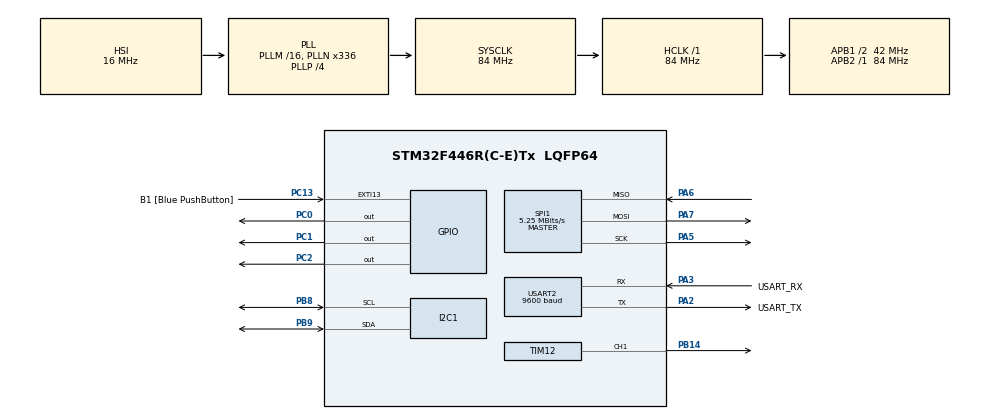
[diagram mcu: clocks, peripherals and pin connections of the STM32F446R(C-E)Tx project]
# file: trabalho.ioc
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Mcu.Family=STM32F4
Mcu.Name=STM32F446R(C-E)Tx
Mcu.Package=LQFP64
NVIC.PriorityGroup=NVIC_PRIORITYGROUP_0
PA13.GPIO_Label=TMS
PA13.Mode=Serial_Wire
PA13.Signal=SYS_JTMS-SWDIO
PA14.GPIO_Label=TCK
PA14.Mode=Serial_Wire
PA14.Signal=SYS_JTCK-SWCLK
PA2.GPIO_Label=USART_TX
PA2.Mode=Asynchronous
PA2.Signal=USART2_TX
PA3.GPIO_Label=USART_RX
PA3.Mode=Asynchronous
PA3.Signal=USART2_RX
PA5.Mode=Full_Duplex_Master
PA5.Signal=SPI1_SCK
PA6.Mode=Full_Duplex_Master
PA6.Signal=SPI1_MISO
PA7.Mode=Full_Duplex_Master
PA7.Signal=SPI1_MOSI
PB14.Signal=S_TIM12_CH1
PB3.GPIO_Label=SWO
PB3.Signal=SYS_JTDO-SWO
PB8.Mode=I2C
PB8.Signal=I2C1_SCL
PB9.Mode=I2C
PB9.Signal=I2C1_SDA
PC0.Signal=GPIO_Output
PC1.Signal=GPIO_Output
PC13.GPIO_Label=B1 [Blue PushButton]
PC13.GPIO_ModeDefaultEXTI=GPIO_MODE_IT_FALLING
PC13.Signal=GPXTI13
PC14-OSC32_IN.Mode=LSE-External-Oscillator
PC14-OSC32_IN.Signal=RCC_OSC32_IN
PC15-OSC32_OUT.Mode=LSE-External-Oscillator
PC15-OSC32_OUT.Signal=RCC_OSC32_OUT
PC2.Signal=GPIO_Output
PH0-OSC_IN.Mode=HSE-External-Oscillator
PH0-OSC_IN.Signal=RCC_OSC_IN
PH1-OSC_OUT.Mode=HSE-External-Oscillator
PH1-OSC_OUT.Signal=RCC_OSC_OUT
ProjectManager.HeapSize=0x200
ProjectManager.StackSize=0x400
ProjectManager.TargetToolchain=STM32CubeIDE
RCC.48MHZClocksFreq_Value=84000000
RCC.AHBFreq_Value=84000000
RCC.APB1CLKDivider=RCC_HCLK_DIV2
RCC.APB1Freq_Value=42000000
RCC.APB1TimFreq_Value=84000000
RCC.APB2Freq_Value=84000000
RCC.APB2TimFreq_Value=84000000
RCC.CortexFreq_Value=84000000
RCC.FLatency-AdvancedSettings=FLASH_LATENCY_2
RCC.HCLKFreq_Value=84000000
RCC.HSE_VALUE=8000000
RCC.HSI_VALUE=16000000
RCC.PLLN=336
RCC.PLLP=RCC_PLLP_DIV4
RCC.SYSCLKFreq_VALUE=84000000
RCC.SYSCLKSource=RCC_SYSCLKSOURCE_PLLCLK
RCC.USBFreq_Value=168000000
RCC.VCOOutputFreq_Value=336000000
SH.S_TIM12_CH1.0=TIM12_CH1,PWM Generation1 CH1
SPI1.BaudRatePrescaler=SPI_BAUDRATEPRESCALER_16
SPI1.CalculateBaudRate=5.25 MBits/s
SPI1.Direction=SPI_DIRECTION_2LINES
SPI1.Mode=SPI_MODE_MASTER
SPI1.VirtualType=VM_MASTER
TIM12.Channel-PWM\ Generation1\ CH1=TIM_CHANNEL_1
TIM12.Period=9999
TIM12.Prescaler=1
USART2.BaudRate=9600
USART2.VirtualMode=VM_ASYNC
board=NUCLEO-F446RE

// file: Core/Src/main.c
/* USER CODE BEGIN Header */
/**
  ******************************************************************************
  * @file           : main.c
  * @brief          : Main program body
  * @author         : Presotto
  ******************************************************************************
  * @attention
  *
  * Copyright (c) 2025 STMicroelectronics.
  * All rights reserved.
  *
  * This software is licensed under terms that can be found in the LICENSE file
  * in the root directory of this software component.
  * If no LICENSE file comes with this software, it is provided AS-IS.
  *
  ******************************************************************************
  */
/* USER CODE END Header */
#include "main.h"

I2C_HandleTypeDef hi2c1;

SPI_HandleTypeDef hspi1;

TIM_HandleTypeDef htim12;

UART_HandleTypeDef huart2;

void SystemClock_Config(void);
static void MX_GPIO_Init(void);
static void MX_USART2_UART_Init(void);
static void MX_I2C1_Init(void);
static void MX_SPI1_Init(void);
static void MX_TIM12_Init(void);

int main(void)
{

  /* MCU Configuration--------------------------------------------------------*/

  /* Reset of all peripherals, Initializes the Flash interface and the Systick. */
  HAL_Init();

  /* Configure the system clock */
  SystemClock_Config();

  /* Initialize all configured peripherals */
  MX_GPIO_Init();
  MX_USART2_UART_Init();
  MX_I2C1_Init();
  MX_SPI1_Init();
  MX_TIM12_Init();
  /* USER CODE BEGIN 2 */

  LCD_Init();
  LCD_Clear();
  LCD_SetCursor(0, 0);

  mpu6050_init();

  HAL_TIM_PWM_Start(&htim12, TIM_CHANNEL_1);

  /* USER CODE END 2 */

  /* Infinite loop */
  /* USER CODE BEGIN WHILE */
  while (1)
  {

	  uint32_t psc = TIM12->PSC;
	  uint32_t arr = TIM12->ARR;

	 int yPos;
	 int xPos;
	 int16_t PSC;
	 mpu6050_read(&yPos, &xPos);

	 if(yPos < -6600){
		 PSC = 64;
		 htim12.Instance->PSC = PSC;
		 htim12.Instance->CCR1 = 1;
		 LCD_SetCursor(18,2);
		 LCD_WriteString("Nota: C");
	 }else if(yPos >= -6599 && yPos <= -5200){
		 PSC = 61;
		 htim12.Instance->PSC = PSC;
		 htim12.Instance->CCR1 = 1;
		 LCD_SetCursor(17,2);
		 LCD_WriteString("Nota: C#");
	 }else if(yPos >= -5199 && yPos <= -3800){
		 PSC = 57;
		 htim12.Instance->PSC = PSC;
		 htim12.Instance->CCR1 = 1;
		 LCD_SetCursor(18,2);
		 LCD_WriteString("Nota: D");
	 }else if(yPos >= -3799 && yPos <= -2400){
		 PSC = 54;
		 htim12.Instance->PSC = PSC;
		 htim12.Instance->CCR1 = 1;
		 LCD_SetCursor(17,2);
		 LCD_WriteString("Nota: D#");
	 }else if(yPos >= -2399 && yPos <= -1000){
		 PSC = 51;
		 htim12.Instance->PSC = PSC;
		 htim12.Instance->CCR1 = 1;
		 LCD_SetCursor(18,2);
		 LCD_WriteString("Nota: E");
	 }else if(yPos >= -999 && yPos <= 400){
		 PSC = 48;
		 htim12.Instance->PSC = PSC;
		 htim12.Instance->CCR1 = 1;
		 LCD_SetCursor(18,2);
		 LCD_WriteString("Nota: F");
	 }else if(yPos >= 401 && yPos <= 1800){
		 PSC = 45;
		 htim12.Instance->PSC = PSC;
		 htim12.Instance->CCR1 = 1;
		 LCD_SetCursor(17,2);
		 LCD_WriteString("Nota: F#");
	 }else if(yPos >= 1801 && yPos <= 3200){
		 PSC = 43;
		 htim12.Instance->PSC = PSC;
		 htim12.Instance->CCR1 = 1;
		 LCD_SetCursor(18,2);
		 LCD_WriteString("Nota: G");
	 }else if(yPos >= 3201 && yPos <= 4600){
		 PSC = 40;
		 htim12.Instance->PSC = PSC;
		 htim12.Instance->CCR1 = 1;
		 LCD_SetCursor(17,2);
		 LCD_WriteString("Nota: G#");
	 }else if(yPos >= 4601 && yPos <= 6000){
		 PSC = 38;
		 htim12.Instance->PSC = PSC;
		 htim12.Instance->CCR1 = 1;
		 LCD_SetCursor(18,2);
		 LCD_WriteString("Nota: A");
	 }else if(yPos >= 6001 && yPos <= 7400){
		 PSC = 36;
		 htim12.Instance->PSC = PSC;
		 htim12.Instance->CCR1 = 1;
		 LCD_SetCursor(17,2);
		 LCD_WriteString("Nota: A#");
	 }else if(yPos > 7400){
		 PSC = 34;
		 htim12.Instance->PSC = PSC;
		 htim12.Instance->CCR1 = 1;
		 LCD_SetCursor(18,2);
		 LCD_WriteString("Nota: B");
	 }

	 if(xPos >= 700){
		 PSC = PSC * 2;
		 htim12.Instance->PSC = PSC;
		 LCD_SetCursor(15,3);
		 LCD_WriteString("Oitava: 3");
	 }else if(xPos <= -700){
		 PSC = PSC / 2;
		 htim12.Instance->PSC = PSC;
		 LCD_SetCursor(15,3);
		 LCD_WriteString("Oitava: 5");
	 }else{
		 LCD_SetCursor(15,3);
		 LCD_WriteString("Oitava: 4");
	 }

	 float freq = 84000000 / ((psc + 1) * (arr + 1)) * 2;

	 char buffer[50];
	 snprintf(buffer, sizeof(buffer), "Frequencia: %.2fHz\r\n", freq);
	 HAL_UART_Transmit(&huart2, (uint8_t*)buffer, strlen(buffer), HAL_MAX_DELAY);
	 HAL_Delay(250);
	 LCD_Clear();

    /* USER CODE END WHILE */

  }
}

void SystemClock_Config(void)
{
  RCC_OscInitTypeDef RCC_OscInitStruct = {0};
  RCC_ClkInitTypeDef RCC_ClkInitStruct = {0};

  /** Configure the main internal regulator output voltage
  */
  __HAL_RCC_PWR_CLK_ENABLE();
  __HAL_PWR_VOLTAGESCALING_CONFIG(PWR_REGULATOR_VOLTAGE_SCALE3);

  /** Initializes the RCC Oscillators according to the specified parameters
  * in the RCC_OscInitTypeDef structure.
  */
  RCC_OscInitStruct.OscillatorType = RCC_OSCILLATORTYPE_HSI;
  RCC_OscInitStruct.HSIState = RCC_HSI_ON;
  RCC_OscInitStruct.HSICalibrationValue = RCC_HSICALIBRATION_DEFAULT;
  RCC_OscInitStruct.PLL.PLLState = RCC_PLL_ON;
  RCC_OscInitStruct.PLL.PLLSource = RCC_PLLSOURCE_HSI;
  RCC_OscInitStruct.PLL.PLLM = 16;
  RCC_OscInitStruct.PLL.PLLN = 336;
  RCC_OscInitStruct.PLL.PLLP = RCC_PLLP_DIV4;
  RCC_OscInitStruct.PLL.PLLQ = 2;
  RCC_OscInitStruct.PLL.PLLR = 2;
  if (HAL_RCC_OscConfig(&RCC_OscInitStruct) != HAL_OK)
  {
    Error_Handler();
  }

  /** Initializes the CPU, AHB and APB buses clocks
  */
  RCC_ClkInitStruct.ClockType = RCC_CLOCKTYPE_HCLK|RCC_CLOCKTYPE_SYSCLK
                              |RCC_CLOCKTYPE_PCLK1|RCC_CLOCKTYPE_PCLK2;
  RCC_ClkInitStruct.SYSCLKSource = RCC_SYSCLKSOURCE_PLLCLK;
  RCC_ClkInitStruct.AHBCLKDivider = RCC_SYSCLK_DIV1;
  RCC_ClkInitStruct.APB1CLKDivider = RCC_HCLK_DIV2;
  RCC_ClkInitStruct.APB2CLKDivider = RCC_HCLK_DIV1;

  if (HAL_RCC_ClockConfig(&RCC_ClkInitStruct, FLASH_LATENCY_2) != HAL_OK)
  {
    Error_Handler();
  }
}

static void MX_I2C1_Init(void)
{

  hi2c1.Instance = I2C1;
  hi2c1.Init.ClockSpeed = 100000;
  hi2c1.Init.DutyCycle = I2C_DUTYCYCLE_2;
  hi2c1.Init.OwnAddress1 = 0;
  hi2c1.Init.AddressingMode = I2C_ADDRESSINGMODE_7BIT;
  hi2c1.Init.DualAddressMode = I2C_DUALADDRESS_DISABLE;
  hi2c1.Init.OwnAddress2 = 0;
  hi2c1.Init.GeneralCallMode = I2C_GENERALCALL_DISABLE;
  hi2c1.Init.NoStretchMode = I2C_NOSTRETCH_DISABLE;
  if (HAL_I2C_Init(&hi2c1) != HAL_OK)
  {
    Error_Handler();
  }

}

static void MX_SPI1_Init(void)
{

  /* SPI1 parameter configuration*/
  hspi1.Instance = SPI1;
  hspi1.Init.Mode = SPI_MODE_MASTER;
  hspi1.Init.Direction = SPI_DIRECTION_2LINES;
  hspi1.Init.DataSize = SPI_DATASIZE_8BIT;
  hspi1.Init.CLKPolarity = SPI_POLARITY_LOW;
  hspi1.Init.CLKPhase = SPI_PHASE_1EDGE;
  hspi1.Init.NSS = SPI_NSS_SOFT;
  hspi1.Init.BaudRatePrescaler = SPI_BAUDRATEPRESCALER_16;
  hspi1.Init.FirstBit = SPI_FIRSTBIT_MSB;
  hspi1.Init.TIMode = SPI_TIMODE_DISABLE;
  hspi1.Init.CRCCalculation = SPI_CRCCALCULATION_DISABLE;
  hspi1.Init.CRCPolynomial = 10;
  if (HAL_SPI_Init(&hspi1) != HAL_OK)
  {
    Error_Handler();
  }

}

static void MX_TIM12_Init(void)
{

  TIM_OC_InitTypeDef sConfigOC = {0};

  htim12.Instance = TIM12;
  htim12.Init.Prescaler = 1;
  htim12.Init.CounterMode = TIM_COUNTERMODE_UP;
  htim12.Init.Period = 9999;
  htim12.Init.ClockDivision = TIM_CLOCKDIVISION_DIV1;
  htim12.Init.AutoReloadPreload = TIM_AUTORELOAD_PRELOAD_DISABLE;
  if (HAL_TIM_PWM_Init(&htim12) != HAL_OK)
  {
    Error_Handler();
  }
  sConfigOC.OCMode = TIM_OCMODE_PWM1;
  sConfigOC.Pulse = 0;
  sConfigOC.OCPolarity = TIM_OCPOLARITY_HIGH;
  sConfigOC.OCFastMode = TIM_OCFAST_DISABLE;
  if (HAL_TIM_PWM_ConfigChannel(&htim12, &sConfigOC, TIM_CHANNEL_1) != HAL_OK)
  {
    Error_Handler();
  }
  HAL_TIM_MspPostInit(&htim12);

}

static void MX_USART2_UART_Init(void)
{

  huart2.Instance = USART2;
  huart2.Init.BaudRate = 9600;
  huart2.Init.WordLength = UART_WORDLENGTH_8B;
  huart2.Init.StopBits = UART_STOPBITS_1;
  huart2.Init.Parity = UART_PARITY_NONE;
  huart2.Init.Mode = UART_MODE_TX_RX;
  huart2.Init.HwFlowCtl = UART_HWCONTROL_NONE;
  huart2.Init.OverSampling = UART_OVERSAMPLING_16;
  if (HAL_UART_Init(&huart2) != HAL_OK)
  {
    Error_Handler();
  }

}

static void MX_GPIO_Init(void)
{
  GPIO_InitTypeDef GPIO_InitStruct = {0};

  /* GPIO Ports Clock Enable */
  __HAL_RCC_GPIOC_CLK_ENABLE();
  __HAL_RCC_GPIOH_CLK_ENABLE();
  __HAL_RCC_GPIOA_CLK_ENABLE();
  __HAL_RCC_GPIOB_CLK_ENABLE();

  /*Configure GPIO pin Output Level */
  HAL_GPIO_WritePin(GPIOC, GPIO_PIN_0|GPIO_PIN_1|GPIO_PIN_2, GPIO_PIN_RESET);

  /*Configure GPIO pin : B1_Pin */
  GPIO_InitStruct.Pin = B1_Pin;
  GPIO_InitStruct.Mode = GPIO_MODE_IT_FALLING;
  GPIO_InitStruct.Pull = GPIO_NOPULL;
  HAL_GPIO_Init(B1_GPIO_Port, &GPIO_InitStruct);

  /*Configure GPIO pins : PC0 PC1 PC2 */
  GPIO_InitStruct.Pin = GPIO_PIN_0|GPIO_PIN_1|GPIO_PIN_2;
  GPIO_InitStruct.Mode = GPIO_MODE_OUTPUT_PP;
  GPIO_InitStruct.Pull = GPIO_NOPULL;
  GPIO_InitStruct.Speed = GPIO_SPEED_FREQ_LOW;
  HAL_GPIO_Init(GPIOC, &GPIO_InitStruct);

}

void Error_Handler(void)
{
  __disable_irq();
  while (1)
  {
  }
}
